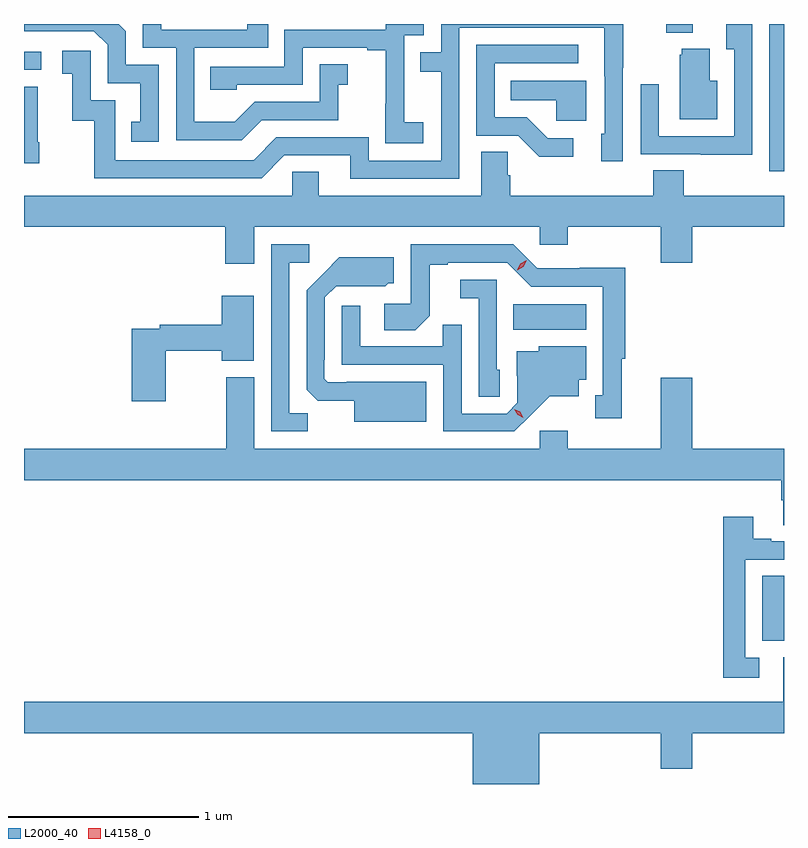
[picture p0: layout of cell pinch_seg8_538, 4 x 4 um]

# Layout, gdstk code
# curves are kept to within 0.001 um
import gdstk
lib = gdstk.Library(unit=1e-6, precision=1e-09)
def R(c, l, rs):  # rectangles x0, y0, x1, y1
    for r in rs: c.add(gdstk.rectangle(r[:2], r[2:], *l))
def P(c, l, *ps):  # polygons
    for p in ps: c.add(gdstk.Polygon(p, *l))
L2000_40 = (2000, 40)
L4158_0 = (4158, 0)

pinch_seg8_538 = lib.new_cell('pinch_seg8_538')
R(pinch_seg8_538, L2000_40, [(117.59,1107.661,117.704,1108.004), (116.278,1109.3,116.662,1109.434), (117.627,1110.132,117.704,1110.908), (113.704,1110.666,113.794,1110.762), (117.083,1110.863,117.223,1110.908)])
P(pinch_seg8_538, L2000_40, [(114.955,1110.402),(115.359,1110.402),(115.359,1110.587),(115.408,1110.587),(115.408,1110.697),(115.26,1110.697),(115.26,1110.498),(114.918,1110.498),(114.814,1110.394),(114.6,1110.394),(114.6,1110.783),(114.989,1110.783),(114.989,1110.908),(114.878,1110.908),(114.878,1110.879),(114.427,1110.879),(114.427,1110.908),(114.33,1110.908),(114.33,1110.783),(114.504,1110.783),(114.504,1110.297),(114.85,1110.297)],
  [(114.414,1110.693),(114.24,1110.693),(114.24,1110.87),(114.202,1110.908),(113.704,1110.908),(113.704,1110.87),(114.072,1110.87),(114.144,1110.798),(114.144,1110.597),(114.317,1110.597),(114.317,1110.393),(114.268,1110.393),(114.268,1110.288),(114.414,1110.288)],
  [(115.804,1110.391),(115.706,1110.391),(115.706,1110.62),(115.704,1110.62),(115.704,1110.849),(115.809,1110.849),(115.809,1110.908),(115.608,1110.908),(115.608,1110.879),(115.074,1110.879),(115.074,1110.684),(114.685,1110.684),(114.685,1110.561),(114.825,1110.561),(114.825,1110.588),(115.17,1110.588),(115.17,1110.783),(115.511,1110.783),(115.511,1110.771),(115.607,1110.771),(115.607,1110.487),(115.606,1110.487),(115.606,1110.281),(115.804,1110.281)],
  [(115.995,1110.888),(116.759,1110.888),(116.76,1110.33),(116.741,1110.33),(116.741,1110.186),(116.856,1110.186),(116.856,1110.679),(116.859,1110.679),(116.859,1110.908),(115.899,1110.908),(115.899,1110.759),(115.789,1110.759),(115.789,1110.658),(115.899,1110.658),(115.899,1110.189),(115.518,1110.189),(115.518,1110.312),(115.032,1110.312),(114.912,1110.192),(114.183,1110.192),(114.183,1110.507),(114.054,1110.507),(114.054,1110.766),(113.904,1110.766),(113.904,1110.645),(113.957,1110.645),(113.957,1110.399),(114.075,1110.399),(114.075,1110.096),(114.954,1110.096),(115.074,1110.216),(115.421,1110.216),(115.421,1110.093),(115.995,1110.093)],
  [(117.537,1110.908),(117.401,1110.908),(117.401,1110.775),(117.441,1110.775),(117.441,1110.318),(117.045,1110.318),(117.045,1110.592),(116.949,1110.592),(116.949,1110.222),(117.265,1110.222),(117.265,1110.221),(117.537,1110.221)],
  [(116.596,1110.306),(116.461,1110.306),(116.35,1110.417),(116.181,1110.417),(116.181,1110.702),(116.62,1110.702),(116.62,1110.798),(116.085,1110.798),(116.085,1110.321),(116.304,1110.321),(116.417,1110.209),(116.596,1110.209)],
  [(117.352,1110.61),(117.313,1110.61),(117.313,1110.778),(117.167,1110.778),(117.167,1110.747),(117.155,1110.747),(117.155,1110.407),(117.352,1110.407)],
  [(116.662,1110.61),(116.266,1110.61),(116.266,1110.506),(116.505,1110.506),(116.505,1110.398),(116.662,1110.398)],
  [(113.784,1110.286),(113.776,1110.286),(113.776,1110.577),(113.704,1110.577),(113.704,1110.174),(113.784,1110.174)],
  [(114.916,1109.84),(116.418,1109.84),(116.418,1109.747),(116.565,1109.747),(116.565,1109.84),(117.056,1109.84),(117.056,1109.652),(117.22,1109.652),(117.22,1109.84),(117.704,1109.84),(117.704,1110.004),(117.177,1110.004),(117.177,1110.137),(117.017,1110.137),(117.017,1110.004),(116.264,1110.004),(116.264,1110.113),(116.25,1110.113),(116.25,1110.236),(116.111,1110.236),(116.111,1110.004),(115.255,1110.004),(115.255,1110.131),(115.116,1110.131),(115.116,1110.004),(113.704,1110.004),(113.704,1109.84),(114.764,1109.84),(114.764,1109.646),(114.916,1109.646)],
  [(115.197,1108.859),(115.101,1108.859),(115.101,1109.652),(115.204,1109.652),(115.204,1109.748),(115.005,1109.748),(115.005,1108.764),(115.197,1108.764)],
  [(116.851,1109.145),(116.869,1109.145),(116.869,1109.624),(116.628,1109.624),(116.628,1109.622),(116.406,1109.622),(116.28,1109.748),(115.74,1109.748),(115.74,1109.436),(115.599,1109.436),(115.599,1109.296),(115.763,1109.296),(115.839,1109.372),(115.839,1109.64),(115.933,1109.64),(115.933,1109.652),(116.247,1109.652),(116.373,1109.526),(116.75,1109.526),(116.75,1108.953),(116.711,1108.953),(116.711,1108.833),(116.851,1108.833)],
  [(115.822,1109.026),(115.402,1109.026),(115.402,1109.022),(115.302,1109.022),(115.284,1109.04),(115.284,1109.14),(115.287,1109.14),(115.287,1109.469),(115.347,1109.529),(115.604,1109.528),(115.62,1109.544),(115.651,1109.544),(115.651,1109.68),(115.363,1109.68),(115.191,1109.506),(115.191,1108.984),(115.25,1108.925),(115.442,1108.925),(115.442,1108.814),(115.822,1108.814)],
  [(116.208,1109.088),(116.193,1109.088),(116.193,1109.562),(116.001,1109.562),(116.001,1109.465),(116.097,1109.465),(116.097,1108.945),(116.208,1108.945)],
  [(114.45,1109.188),(114.746,1109.188),(114.746,1109.135),(114.913,1109.135),(114.913,1109.479),(114.746,1109.479),(114.746,1109.324),(114.418,1109.324),(114.418,1109.304),(114.272,1109.304),(114.272,1108.923),(114.45,1108.923)],
  [(116.368,1108.847),(116.471,1108.949),(116.623,1108.949),(116.623,1109.036),(116.662,1109.036),(116.662,1109.212),(116.412,1109.212),(116.412,1109.185),(116.297,1109.185),(116.297,1109.056),(116.301,1109.056),(116.301,1108.914),(116.244,1108.857),(116.007,1108.857),(116.007,1109.324),(115.909,1109.324),(115.909,1109.211),(115.473,1109.211),(115.473,1109.425),(115.377,1109.425),(115.377,1109.115),(115.911,1109.115),(115.911,1108.764),(116.284,1108.764)],
  [(117.704,1108.672),(117.22,1108.672),(117.22,1109.047),(117.056,1109.047),(117.056,1108.672),(116.565,1108.672),(116.565,1108.768),(116.418,1108.768),(116.418,1108.672),(114.916,1108.672),(114.916,1109.05),(114.769,1109.05),(114.769,1108.672),(113.704,1108.672),(113.704,1108.508),(117.689,1108.508),(117.689,1108.402),(117.701,1108.402),(117.701,1108.27),(117.704,1108.27)],
  [(117.574,1107.573),(117.501,1107.573),(117.501,1108.089),(117.704,1108.089),(117.704,1108.185),(117.637,1108.185),(117.637,1108.198),(117.541,1108.198),(117.541,1108.315),(117.385,1108.315),(117.385,1107.468),(117.574,1107.468)],
  [(116.416,1107.176),(117.056,1107.176),(117.056,1106.988),(117.22,1106.988),(117.22,1107.176),(117.704,1107.176),(117.704,1107.576),(117.701,1107.576),(117.701,1107.34),(113.704,1107.34),(113.704,1107.176),(116.066,1107.176),(116.066,1106.908),(116.416,1106.908)])
P(pinch_seg8_538, L4158_0, [(116.299,1109.612),(116.299,1109.613),(116.317,1109.645),(116.349,1109.664),(116.349,1109.664),(116.349,1109.664),(116.332,1109.631),(116.3,1109.612)],
  [(116.332,1108.836),(116.302,1108.851),(116.285,1108.881),(116.285,1108.881),(116.285,1108.881),(116.315,1108.866),(116.332,1108.836),(116.332,1108.836)])

lib.write_gds('pinch_seg8_538.gds')
